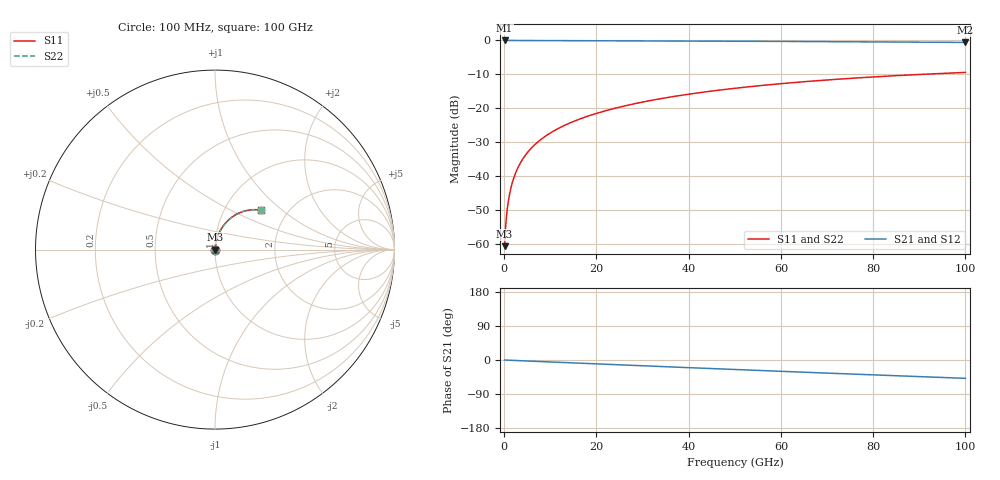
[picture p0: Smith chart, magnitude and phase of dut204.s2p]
! Touchstone file exported from HFSS 2026.1.0
!  File:  C:/ffzhzh/LocalFiles/Ansys_Project_Files/temp_train_RDL_204_1783500759_44152.aedt
!  Generated:  04:53:51 PM Jul  8, 2026
!  Design:  RDL
!  Project:  temp_train_RDL_204_1783500759_44152
! Variables:
!  h_bsmrdl = 2um
!  h_ox = 20um
!  h_rdl = 5um
!  h_sub = 80um
!  h_tmrdl = 3.37um
!  h_tsv = 80um
!  h_via = 3um
!  l_bsmrdl = 300um
!  l_sub = 528.82um
!  l_tmrdl = 128.82um
!  m_sub = 200um
!  pitch = 44.39um
!  r_tsv = 6um
!  s_tmrdl = 10um
!  w_bsmrdl = 18um
!  w_sub = 500um
!  w_tmrdl = 27.01um
!  x_tsv_center1 = 142.325um
!  x_tsv_center2 = 460.325um
!  x_tsv_center3 = 616.155um
!  x_tsv_center4 = 934.155um
!  x_tsv_center5 = 1089.985um
!  x_tsv_center6 = 1407.985um
# GHz S MA R 50.000000
! Terminal data exported
! Port[1] = TM_RDL1_1_T1
! Port[2] = TM_RDL1_1_T2
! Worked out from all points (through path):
!   1000 points, 100 MHz to 100 GHz, reference 50 ohm
!   highest |S21| = -0.01 dB at 100 MHz (marker M1); lowest = -0.6 dB at 100 GHz (marker M2)
!   group delay of S21, straight-line fit = 1.34 ps
!   lowest |S11| = -60.7 dB at 100 MHz (marker M3), VSWR 1.00, Z = 50.1 + j0.0513 ohm
!   |S11| at or under -10 dB: start of sweep to 90.74 GHz
!   |S22| runs from -60.7 to -9.5 dB; largest |S21 - S12| = 4.2e-15
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0.1  0.0009178 33.9  0.9992 -0.1  0.9992 -0.1  0.0009178 33.9
! Gamma 0 0 0 0
! Port Impedance 50 0 50 0
0.4  0.002103 64.6  0.9991 -0.2  0.9991 -0.2  0.002103 64.6
0.7  0.003345 72.8  0.999 -0.4  0.999 -0.4  0.003345 72.8
0.9  0.004188 75.8  0.999 -0.5  0.999 -0.5  0.004188 75.8
1.2  0.00547 78.6  0.999 -0.6  0.999 -0.6  0.00547 78.6
1.5  0.006764 80.3  0.9989 -0.8  0.9989 -0.8  0.006764 80.3
2  0.008934 81.9  0.9989 -1.1  0.9989 -1.1  0.008934 81.9
2.6  0.01154 82.9  0.9988 -1.4  0.9988 -1.4  0.01154 82.9
3.3  0.01458 83.4  0.9986 -1.7  0.9986 -1.7  0.01458 83.4
4.1  0.01804 83.5  0.9985 -2.1  0.9985 -2.1  0.01804 83.5
5.1  0.02234 83.5  0.9982 -2.7  0.9982 -2.7  0.02234 83.5
6.2  0.02702 83.2  0.998 -3.2  0.998 -3.2  0.02702 83.2
9  0.03881 82.2  0.9971 -4.7  0.9971 -4.7  0.03881 82.2
12.5  0.05329 80.7  0.996 -6.4  0.996 -6.4  0.05329 80.7
16.8  0.07082 78.8  0.9944 -8.6  0.9944 -8.6  0.07082 78.9
24.2  0.1004 75.5  0.9912 -12.3  0.9912 -12.3  0.1004 75.5
33.4  0.1361 71.2  0.9863 -16.9  0.9863 -16.9  0.1361 71.2
41.2  0.1652 67.5  0.9814 -20.8  0.9814 -20.8  0.1652 67.6
50.1  0.1969 63.3  0.9751 -25.1  0.9751 -25.1  0.1968 63.4
66.7  0.2509 55.6  0.962 -33.1  0.962 -33.1  0.2509 55.6
83.4  0.298 47.9  0.9481 -40.8  0.9481 -40.8  0.298 48.0
100  0.3369 40.5  0.9347 -48.4  0.9347 -48.4  0.3369 40.6
